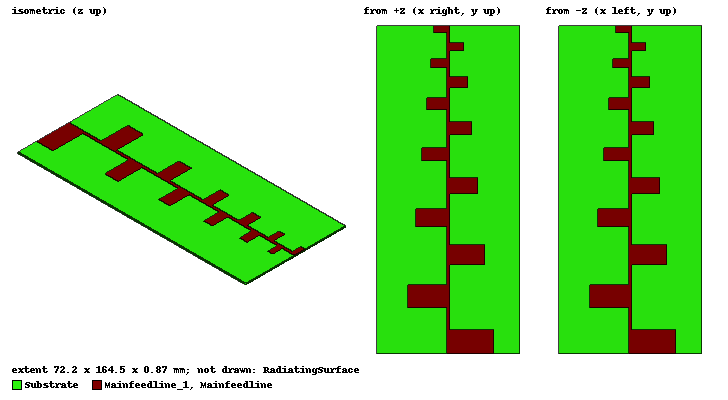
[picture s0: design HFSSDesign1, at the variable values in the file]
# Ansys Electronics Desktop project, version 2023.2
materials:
  vacuum: permittivity=1
  copper: permeability=0.999991 conductivity=58000000
  FR4_epoxy: permittivity=4.4 dielectric_loss_tangent=0.02
  Rogers RO4003 (tm): permittivity=3.55 dielectric_loss_tangent=0.0027

design HFSSDesign1 (HFSS, HFSS Terminal Network, model units mm)
options: Allow_Material_Override
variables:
  t_diel = 0.8mm
  I_feed = 164.51mm
  w_feed = 1.8820477mm
  L = 11.72mm
  W = 36.1mm
  w_g = 2*W
  l_g = i_feed
  t = 0.035mm
  t_g = t
  via_r = 0.5mm
  l_feed = 1.5*I_feed+L
  sclf = 0.9
  spcf = 0.16
  Lmax = 83mm
  Wmax = 13mm
  er = 3.38
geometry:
  coordinate_system Substrate_base = origin=(0mm, 0mm, t) x=(1mm, 0mm, 0mm) y=(0mm, 1mm, 0mm)
  Substrate [Rogers RO4003 (tm)] = box(corner=(-w_g/2, 0mm, 0mm), size=(w_g, l_g, t_diel)) in Substrate_base
  coordinate_system SubstrateTop = origin=(0mm, 0mm, t_diel) x=(1mm, 0mm, 0mm) y=(0mm, 1mm, 0mm) in Substrate_base
  Mainfeedline [copper] = box(corner=(-w_feed/2, 0mm, 0mm), size=(w_feed, I_feed, t)) in SubstrateTop
  Branchfeedline1 = box(corner=(0mm, 0mm, 0mm), size=(((sclf^0)*(Lmax))/(2*(3.38^(1/2))), 11.89mm, 0.035mm)) in SubstrateTop
  Branchfeedline2 = box(corner=(0mm, 23.03mm, 0mm), size=(((sclf^1)*(Lmax))/(2*(3.38^(1/2))), 11.4mm, 0.035mm)) in SubstrateTop
  Branchfeedline3 = box(corner=(0mm, 44.84mm, 0mm), size=(((sclf^2)*(Lmax))/(2*(3.38^(1/2))), 9.71mm, 0.035mm)) in SubstrateTop
  Branchfeedline4 = box(corner=(0mm, 63.75mm, 0mm), size=(((sclf^3)*(Lmax))/(2*(3.38^(1/2))), 8.98mm, 0.035mm)) in SubstrateTop
  Branchfeedline5 = box(corner=(0mm, 80.48mm, 0mm), size=(((sclf^4)*(Lmax))/(2*(3.38^(1/2))), 8.01mm, 0.035mm)) in SubstrateTop
  Branchfeedline6 = box(corner=(0mm, 96.66mm, 0mm), size=(((sclf^5)*(Lmax))/(2*(3.38^(1/2))), 6.55mm, 0.035mm)) in SubstrateTop
  Branchfeedline7 = box(corner=(0mm, 110.09mm, 0mm), size=(((sclf^6)*(Lmax))/(2*(3.38^(1/2))), 6.29mm, 0.035mm)) in SubstrateTop
  Branchfeedline8 = box(corner=(0mm, 122.45mm, 0mm), size=(((sclf^7)*(Lmax))/(2*(3.38^(1/2))), 6.07mm, 0.035mm)) in SubstrateTop
  Branchfeedline9 = box(corner=(0mm, 133.6mm, 0mm), size=(((sclf^8)*(Lmax))/(2*(3.38^(1/2))), 5.58mm, 0.035mm)) in SubstrateTop
  Branchfeedline10 = box(corner=(0mm, 143.66mm, 0mm), size=(((sclf^9)*(Lmax))/(2*(3.38^(1/2))), 4.12mm, 0.035mm)) in SubstrateTop
  [Branchfeedline2, Branchfeedline4, Branchfeedline6, Branchfeedline8, Branchfeedline10].mirror(point=(0mm, 0mm, 0mm), normal=(1mm, 0mm, 0mm)) in SubstrateTop
  Mainfeedline.unite(Branchfeedline1..Branchfeedline10)
  Mainfeedline_1 [copper] = Mainfeedline.duplicate_mirror(point=(0mm, 0mm, 0mm), normal=(1mm, 0mm, 0mm)) in SubstrateTop
  Mainfeedline_1.move(0mm, 0mm, (-0.8-0.035) mm) in SubstrateTop
  Rectangle1 = rectangle(corner=(-w_feed/2, 0mm, t), z_size=-t-t-t_diel, x_size=w_feed) in SubstrateTop
  RadiatingSurface [vacuum] = region(absolute_offset=50mm on all sides) in SubstrateTop
  Branchfeedline11 = box(corner=(0mm, 152.09mm, 0mm), size=(((sclf^10)*(Lmax))/(2*(3.38^(1/2))), 3.65mm, 0.035mm)) in SubstrateTop
  Branchfeedline12 = box(corner=(0mm, 161.12mm, 0mm), size=(-((sclf^11)*(Lmax))/(2*(3.38^(1/2))), 3.39mm, 0.035mm)) in SubstrateTop
  coordinate_system RelativeCS1 = origin=(0mm, 153.915mm, 0.035mm) x=(1mm, 0mm, 0mm) y=(0mm, 1mm, 0mm) in SubstrateTop
  Branchfeedline11_1 = Branchfeedline11.duplicate_mirror(point=(0mm, 0mm, 0mm), normal=(1mm, 0mm, 0mm)) in RelativeCS1
  Branchfeedline12_1 = Branchfeedline12.duplicate_mirror(point=(0mm, 0mm, 0mm), normal=(1mm, 0mm, 0mm)) in RelativeCS1
  [Branchfeedline12_1, Branchfeedline11_1].move(0mm, 0mm, -(t+t_diel)) in RelativeCS1
  Mainfeedline.unite(Branchfeedline11, Branchfeedline12)
  Mainfeedline_1.unite(Branchfeedline11_1, Branchfeedline12_1)
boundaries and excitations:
  Open1: Radiation Objects=RadiatingSurface
  1: Lumped Port Objects=Rectangle1 LumpedPortType=Modal Modes{Mode1{IntLine{(-0.015034991, 0, 0.035) -> (0, 0, 0.87)} CharImp=Zpi}} Impedance=50ohm
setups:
  Setup1: HfssDriven MultipleAdaptiveFreqsSetup{AdaptAt{Frequency=2GHz Delta=0.02} AdaptAt{Frequency=2.5GHz Delta=0.02} AdaptAt{Frequency=2.7GHz Delta=0.02} AdaptAt{Frequency=4GHz Delta=0.02} AdaptAt{Frequency=5.3GHz Delta=0.02}} MaximumPasses=12 MinimumPasses=1 MinimumConvergedPasses=1 PercentRefinement=30 BasisOrder=1 PortAccuracy=2 DrivenSolverType="Direct Solver"
    sweep Sweep: 2GHz to 7GHz, 401 points; Type=Interpolating SaveFields InterpTolerance=0.5 InterpMaxSolns=250 PassivityErrorTolerance=0.0001
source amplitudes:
  1:1: 1V 0deg
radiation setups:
  3D: Infinite Sphere Theta=0deg..180deg step 2deg Phi=-180deg..180deg step 2deg CoordSystem=SubstrateTop
  Elevation: Infinite Sphere Theta=-180deg..180deg step 1deg Phi=0deg..90deg step 90deg CoordSystem=SubstrateTop
  Azimuth: Infinite Sphere Theta=90deg..90deg step 0deg Phi=-180deg..180deg step 1deg CoordSystem=SubstrateTop
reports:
  S Parameter Plot 1: dB(S(1,1)) vs Freq on Setup1 : Sweep
  S Parameter Plot 2: dB(S(1,1)) vs Freq on Setup1 : Sweep [sclf=all]; markers m1 at 2.175GHz, m2 at 2.3625GHz, m3 at 2.825GHz, m4 at 2.975GHz, m5 at 3.0875GHz, m6 at 3.3125GHz, m7 at 3.35GHz, m8 at 3.55GHz, m9 at 3.7625GHz, m10 at 3.8375GHz, m11 at 4.15GHz, m12 at 5.2375GHz, m13 at 6.1875GHz, m14 at 6.2125GHz, m15 at 6.8625GHz, m16 at 6.9GHz
  Gain Plot 1: dB(GainTotal) vs Phi, Theta on Setup1 : LastAdaptive, 3D [Freq=2GHz]
  Gain Plot 2: dB(GainTotal) vs Phi, Theta on Setup1 : LastAdaptive, 3D [Freq=2.7GHz]
  Gain Plot 3: dB(GainTotal) vs Phi, Theta on Setup1 : LastAdaptive, 3D [Freq=5.3GHz]
  Gain Plot 4: dB(GainTotal) vs Phi, Theta on Setup1 : LastAdaptive, 3D [Freq=4GHz]
